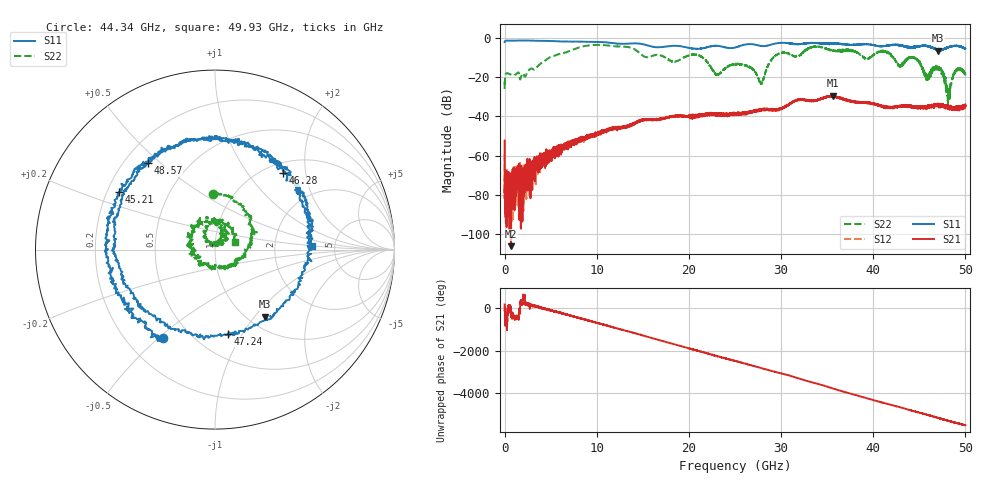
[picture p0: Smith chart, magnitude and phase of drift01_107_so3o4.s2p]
!Created with skrf (http://scikit-rf.org).
# Hz S RI R 50.0
!freq ReS11 ImS11 ReS21 ImS21 ReS12 ImS12 ReS22 ImS22
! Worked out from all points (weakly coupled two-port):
!   10001 points, 300 kHz to 50 GHz, reference 50 ohm
!   highest |S21| = -29.52 dB at 35.61 GHz (marker M1); lowest = -106.0 dB at 700.3 MHz (marker M2)
!   lowest |S11| = -6.6 dB at 47.05 GHz (marker M3), VSWR 2.75, Z = 59.2 - j56.7 ohm
!   |S11| at or under -10 dB: nowhere
!   |S22| runs from -34.3 to -3.6 dB; largest |S21 - S12| = 0.0042
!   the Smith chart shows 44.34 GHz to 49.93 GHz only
!   S11 on the Smith chart (normalised r, x): 44.34 GHz: 0.36, -0.52; 45.21 GHz: 0.25, +0.26; 46.28 GHz: 1.19, +1.51; 47.24 GHz: 0.72, -0.86; 48.57 GHz: 0.30, +0.45; 49.93 GHz: 3.32, +0.17
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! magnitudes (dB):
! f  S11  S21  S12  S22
! 300 kHz  -2.2  -52.3  -59.0  -22.1
! 255.3 MHz  -1.4  -81.7  -78.5  -18.0
! 700.3 MHz  -1.5  -106.0  -81.7  -18.8
! 8.335 GHz  -1.9  -52.1  -51.1  -4.6
! 16.67 GHz  -4.8  -41.4  -41.2  -8.7
! 20.97 GHz  -5.6  -39.6  -39.8  -8.7
! 23.08 GHz  -4.1  -38.4  -38.7  -18.8
! 25 GHz  -5.0  -38.3  -38.8  -13.7
! 27.85 GHz  -4.2  -36.9  -36.4  -22.9
! 29.48 GHz  -2.8  -36.5  -36.7  -8.7
! 33.34 GHz  -2.6  -32.3  -32.0  -4.8
! 35.61 GHz  -3.0  -29.5  -30.0  -6.6
! 41.67 GHz  -3.9  -35.5  -35.2  -7.6
! 44.34 GHz  -4.9  -34.9  -35.0  -10.2
! 45.21 GHz  -4.1  -35.2  -35.6  -14.1
! 46.28 GHz  -4.9  -34.6  -34.5  -17.9
! 47.05 GHz  -6.6  -34.8  -34.2  -15.9
! 47.24 GHz  -6.5  -34.4  -34.4  -17.1
! 48.12 GHz  -4.9  -35.0  -35.3  -31.9
! 48.57 GHz  -4.3  -36.0  -36.1  -20.7
! 49.93 GHz  -5.4  -34.4  -34.2  -18.6
! 50 GHz  -5.5  -34.6  -34.4  -18.4
